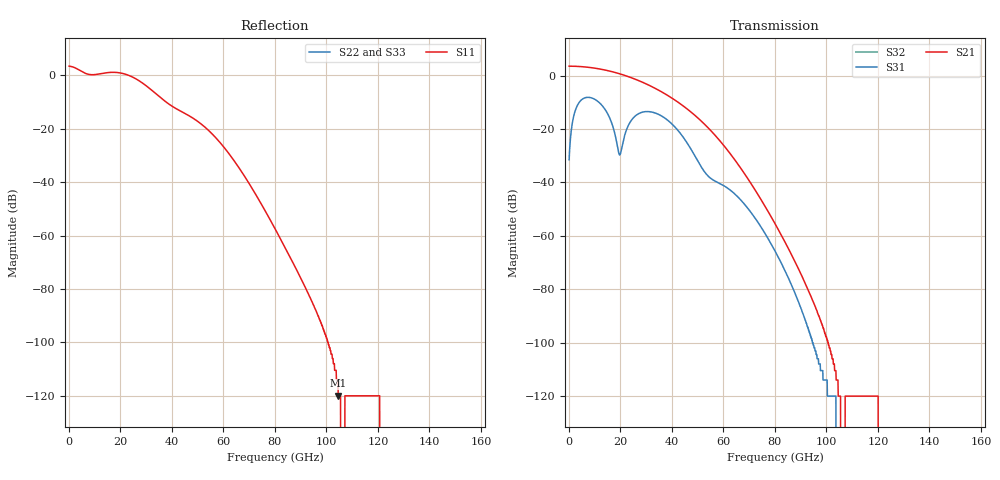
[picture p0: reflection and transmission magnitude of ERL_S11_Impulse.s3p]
! File created by SignalIntegrity v1.5.2: Signal and Power Integrity Tools
! https://github.com/Nubis-Communications/SignalIntegrity
# MHz S MA R 50.0
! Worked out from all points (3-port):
!   1600 points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, 100 MHz to 160 GHz, reference 50 ohm
!   strongest paths, dB at 100 MHz, 40.1 GHz, 80.1 GHz, 120.1 GHz, 160 GHz:
!     S21: 3.6, -8.5, -55.5, -120.0, -
!     S31: -31.5, -18.2, -65.7, -, -
!     S32: -, -, -, -, -
!   lowest |S11| = -120.0 dB at 104.6 GHz (marker M1), VSWR 1.00, Z = 50 + j9.9e-05 ohm
!   |S11| at or under -10 dB: 37.77 GHz to end of sweep
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100  1.485 -0.9  0 0.0  0 0.0
     1.506 -0.2  0 0.0  0 0.0
     0.02669 -140.8  0 0.0  0 0.0
6100  1.106 -21.5  0 0.0  0 0.0
      1.459 -14.8  0 0.0  0 0.0
      0.3826 -175.3  0 0.0  0 0.0
19700  1.115 -47.8  0 0.0  0 0.0
       1.085 -48.6  0 0.0  0 0.0
       0.03281 -22.6  0 0.0  0 0.0
25500  0.8885 -74.7  0 0.0  0 0.0
       0.8688 -63.6  0 0.0  0 0.0
       0.1708 -152.5  0 0.0  0 0.0
35000  0.4047 -107.0  0 0.0  0 0.0
       0.5301 -89.8  0 0.0  0 0.0
       0.1866 130.0  0 0.0  0 0.0
58200  0.05889 -175.8  0 0.0  0 0.0
       0.06395 -168.0  0 0.0  0 0.0
       0.009805 67.2  0 0.0  0 0.0
80100  0.001333 114.6  0 0.0  0 0.0
       0.001681 129.3  0 0.0  0 0.0
       0.000517 -10.0  0 0.0  0 0.0
92900  8.3e-05 100.8  0 0.0  0 0.0
       9.8e-05 107.6  0 0.0  0 0.0
       1.9e-05 -40.1  0 0.0  0 0.0
104600  1e-06 82.0  0 0.0  0 0.0
        1e-06 93.7  0 0.0  0 0.0
        0 15.2  0 0.0  0 0.0
160000  0 -168.0  0 0.0  0 0.0
        0 -121.0  0 0.0  0 0.0
        0 94.4  0 0.0  0 0.0
